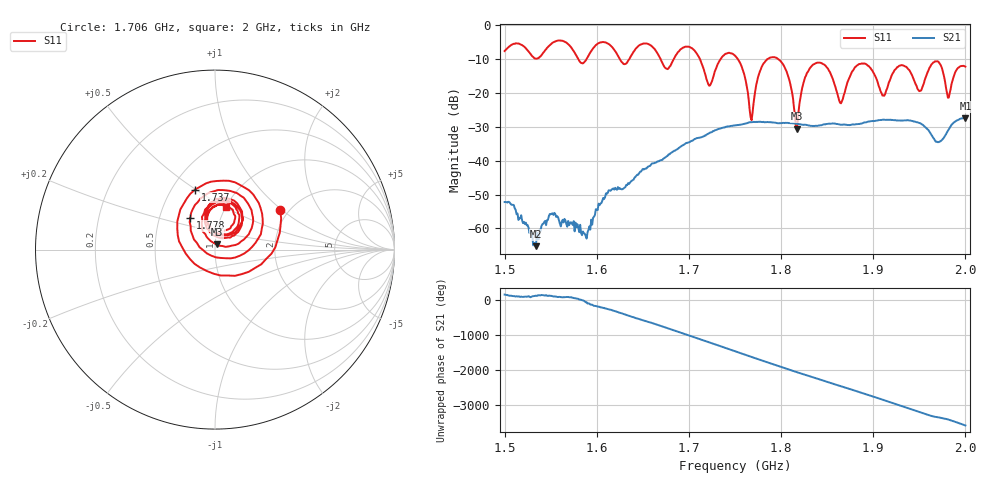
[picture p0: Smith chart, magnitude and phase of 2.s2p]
! NanoVNA-App by SYSJOINT et al v1.1.209 (+OD18)
! Date: 2026-01-21 14:40:08
! Start: 1,5GHz Stop: 2GHz Points: 501
! S-Parameter data: F S11 S21 S12 S22
# Hz S RI R 50
!  Frequency  S11_Real  S11_Imag  S21_Real  S21_Imag  S12_Real  S12_Imag  S22_Real  S22_Imag
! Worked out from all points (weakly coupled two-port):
!   501 points, 1.5 GHz to 2 GHz, reference 50 ohm
!   highest |S21| = -27.45 dB at 2 GHz (marker M1); lowest = -65.3 dB at 1.534 GHz (marker M2)
!   lowest |S11| = -30.5 dB at 1.817 GHz (marker M3), VSWR 1.06, Z = 50.8 + j2.89 ohm
!   |S11| at or under -10 dB: 1.712 GHz to 1.734 GHz (22.49 MHz wide, 1.3 % of centre); 1.753 GHz to 1.785 GHz (32.25 MHz wide, 1.82 % of centre); 1.797 GHz to end of sweep (the widest 3 of 6)
!   S12 and S22 are empty: the file has one direction only
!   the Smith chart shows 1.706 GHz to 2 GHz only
!   S11 on the Smith chart (normalised r, x): 1.706 GHz: 1.80, +0.97; 1.737 GHz: 0.65, +0.50; 1.778 GHz: 0.72, +0.27; 2 GHz: 1.01, +0.51
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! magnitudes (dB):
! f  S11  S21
! 1.5 GHz  -7.6  -52.2
! 1.534 GHz  -9.9  -65.3
! 1.552 GHz  -5.2  -55.6
! 1.584 GHz  -11.2  -62.0
! 1.667 GHz  -8.9  -40.2
! 1.706 GHz  -7.4  -33.6
! 1.722 GHz  -17.9  -31.9
! 1.737 GHz  -9.1  -30.2
! 1.75 GHz  -9.0  -29.6
! 1.768 GHz  -28.0  -28.6
! 1.778 GHz  -13.0  -28.5
! 1.801 GHz  -11.1  -28.9
! 1.817 GHz  -30.5  -29.1
! 1.834 GHz  -11.8  -29.7
! 1.865 GHz  -23.1  -29.4
! 1.886 GHz  -11.4  -29.1
! 1.917 GHz  -16.9  -27.9
! 1.932 GHz  -11.9  -28.1
! 1.951 GHz  -19.4  -29.0
! 1.969 GHz  -10.6  -34.4
! 1.982 GHz  -21.4  -30.7
! 2 GHz  -12.2  -27.5
